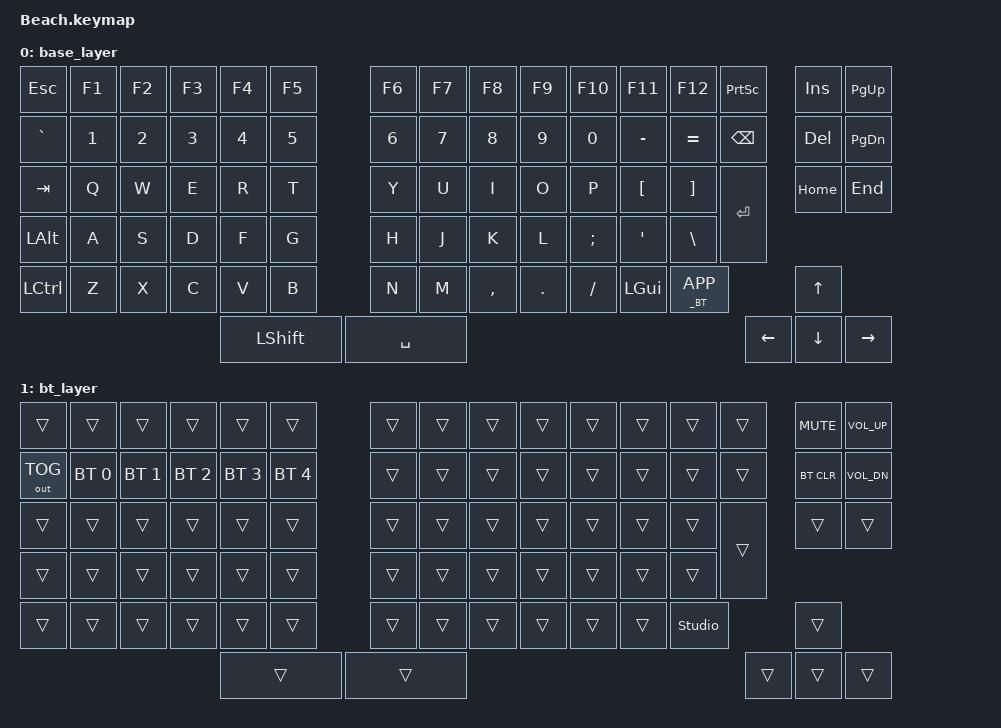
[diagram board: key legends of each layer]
/*
 * Copyright (c) 2021 The ZMK Contributors
 *
 * SPDX-License-Identifier: MIT
 */

#include <behaviors.dtsi>
#include <dt-bindings/zmk/keys.h>
#include <dt-bindings/zmk/bt.h>
#include <dt-bindings/zmk/outputs.h>

#define _BASE    0
#define _BT      1

/ {
    combos {
        compatible = "zmk,combos";
// ------------------------- LAYER COMBOS --------------------------------
        combo_BOOT {
            timeout-ms = <50>;
            key-positions = <15 31 46>;
            bindings = <&bootloader>;
            layers = <_BT>;
        };
    };

    keymap {
        compatible = "zmk,keymap";

                base_layer {
                     bindings = <
&kp ESC   &kp F1 &kp F2 &kp F3 &kp F4 &kp F5 &kp F6 &kp F7 &kp F8    &kp F9  &kp F10  &kp F11   &kp F12   &kp PSCRN      &kp INS  &kp PG_UP
&kp GRAVE &kp N1 &kp N2 &kp N3 &kp N4 &kp N5 &kp N6 &kp N7 &kp N8    &kp N9  &kp N0   &kp MINUS &kp EQUAL &kp BSPC       &kp DEL  &kp PG_DN  
&kp TAB   &kp Q  &kp W  &kp E  &kp R  &kp T  &kp Y  &kp U  &kp I     &kp O   &kp P    &kp LBKT  &kp RBKT                 &kp HOME &kp END  
&kp LALT  &kp A  &kp S  &kp D  &kp F  &kp G  &kp H  &kp J  &kp K     &kp L   &kp SEMI &kp SQT   &kp BSLH  &kp ENTER               
&kp LCTRL &kp Z  &kp X  &kp C  &kp V  &kp B  &kp N  &kp M  &kp COMMA &kp DOT &kp FSLH &kp LGUI     &lt _BT K_APP         &kp UP
                                  &kp LSHFT  &kp SPACE                                                          &kp LEFT &kp DOWN  &kp RIGHT 
                        >;
                };                
   

                bt_layer {
                        bindings = <
&trans       &trans       &trans       &trans       &trans       &trans       &trans &trans &trans &trans &trans &trans &trans &trans  &kp C_MUTE &kp C_VOL_UP
&out OUT_TOG &bt BT_SEL 0 &bt BT_SEL 1 &bt BT_SEL 2 &bt BT_SEL 3 &bt BT_SEL 4 &trans &trans &trans &trans &trans &trans &trans &trans  &bt BT_CLR &kp C_VOL_DN 
&trans       &trans       &trans       &trans       &trans       &trans       &trans &trans &trans &trans &trans &trans &trans         &trans     &trans
&trans       &trans       &trans       &trans       &trans       &trans       &trans &trans &trans &trans &trans &trans &trans &trans                
&trans       &trans       &trans       &trans       &trans       &trans       &trans &trans &trans &trans &trans &trans &studio_unlock &trans
                                                                 &trans       &trans                                          &trans   &trans     &trans 
                        >;
                };                
    };
};
